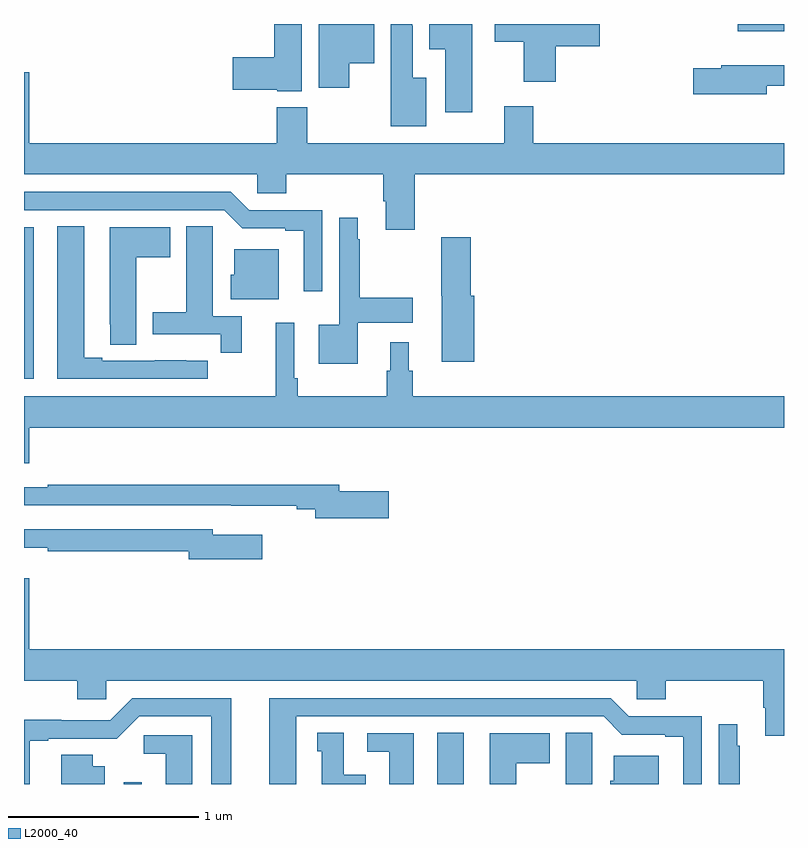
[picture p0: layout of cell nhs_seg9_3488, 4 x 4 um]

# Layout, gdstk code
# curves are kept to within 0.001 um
import gdstk
lib = gdstk.Library(unit=1e-6, precision=1e-09)
def R(c, l, rs):  # rectangles x0, y0, x1, y1
    for r in rs: c.add(gdstk.rectangle(r[:2], r[2:], *l))
def P(c, l, *ps):  # polygons
    for p in ps: c.add(gdstk.Polygon(p, *l))
L2000_40 = (2000, 40)

nhs_seg9_3488 = lib.new_cell('nhs_seg9_3488')
R(nhs_seg9_3488, L2000_40, [(309.525,1238.5,309.621,1238.509), (311.174,1238.5,311.314,1238.771), (309,1240.632,309.052,1241.43), (312.756,1242.461,313,1242.5)])
P(nhs_seg9_3488, L2000_40, [(310.462,1242.5),(310.316,1242.5),(310.316,1242.326),(310.098,1242.326),(310.098,1242.155),(310.332,1242.155),(310.332,1242.146),(310.462,1242.146)],
  [(311.116,1242.217),(311.047,1242.217),(311.047,1242.491),(311.043,1242.491),(311.043,1242.5),(310.931,1242.5),(310.931,1241.963),(311.116,1241.963)],
  [(310.711,1242.293),(310.843,1242.293),(310.843,1242.5),(310.55,1242.5),(310.55,1242.165),(310.711,1242.165)],
  [(311.798,1242.383),(312.031,1242.383),(312.031,1242.5),(311.478,1242.5),(311.478,1242.406),(311.63,1242.406),(311.63,1242.195),(311.798,1242.195)],
  [(311.359,1242.499),(311.132,1242.499),(311.132,1242.368),(311.216,1242.368),(311.216,1242.036),(311.359,1242.036)],
  [(312.91,1242.174),(313,1242.174),(313,1242.283),(312.671,1242.283),(312.671,1242.266),(312.522,1242.266),(312.522,1242.131),(312.91,1242.131)],
  [(311.057,1241.708),(313,1241.708),(313,1241.872),(311.681,1241.872),(311.681,1242.067),(311.528,1242.067),(311.528,1241.872),(310.491,1241.872),(310.491,1242.061),(310.331,1242.061),(310.331,1241.872),(309.028,1241.872),(309.028,1242.247),(309,1242.247),(309,1241.708),(310.227,1241.708),(310.227,1241.61),(310.379,1241.61),(310.379,1241.708),(310.892,1241.708),(310.892,1241.566),(310.904,1241.566),(310.904,1241.418),(311.057,1241.418)],
  [(310.569,1241.52),(310.185,1241.52),(310.089,1241.616),(309,1241.616),(309,1241.52),(310.053,1241.52),(310.149,1241.424),(310.376,1241.424),(310.376,1241.412),(310.472,1241.412),(310.472,1241.094),(310.569,1241.094)],
  [(310.756,1240.928),(311.047,1240.928),(311.047,1241.058),(310.768,1241.058),(310.768,1241.366),(310.756,1241.366),(310.756,1241.479),(310.659,1241.479),(310.659,1240.918),(310.55,1240.918),(310.55,1240.712),(310.756,1240.712)],
  [(310.145,1240.962),(309.994,1240.962),(309.994,1241.324),(309.993,1241.324),(309.993,1241.435),(309.854,1241.435),(309.854,1240.983),(309.677,1240.983),(309.677,1240.866),(310.036,1240.866),(310.036,1240.77),(310.145,1240.77)],
  [(309.967,1240.728),(309.854,1240.728),(309.854,1240.729),(309.688,1240.729),(309.688,1240.728),(309.412,1240.728),(309.412,1240.743),(309.316,1240.743),(309.316,1241.435),(309.176,1241.435),(309.176,1240.632),(309.967,1240.632)],
  [(309.592,1241.272),(309.769,1241.272),(309.769,1241.431),(309.452,1241.431),(309.452,1240.921),(309.453,1240.921),(309.453,1240.813),(309.592,1240.813)],
  [(311.369,1241.07),(311.351,1241.07),(311.351,1241.377),(311.197,1241.377),(311.197,1241.07),(311.198,1241.07),(311.198,1240.722),(311.369,1240.722)],
  [(310.342,1241.314),(310.106,1241.314),(310.106,1241.181),(310.088,1241.181),(310.088,1241.051),(310.342,1241.051)],
  [(309.028,1240.376),(313,1240.376),(313,1240.54),(311.045,1240.54),(311.045,1240.674),(311.026,1240.674),(311.026,1240.825),(310.928,1240.825),(310.928,1240.674),(310.909,1240.674),(310.909,1240.54),(310.442,1240.54),(310.442,1240.636),(310.422,1240.636),(310.422,1240.927),(310.325,1240.927),(310.325,1240.54),(309,1240.54),(309,1240.188),(309.028,1240.188)],
  [(310.921,1240.041),(310.66,1240.041),(310.66,1240.075),(309.124,1240.075),(309.124,1240.062),(309,1240.062),(309,1239.966),(310.09,1239.966),(310.09,1239.965),(310.436,1239.965),(310.436,1239.946),(310.532,1239.946),(310.532,1239.899),(310.921,1239.899)],
  [(310.255,1239.811),(309.994,1239.811),(309.994,1239.84),(309,1239.84),(309,1239.743),(309.124,1239.743),(309.124,1239.724),(309.866,1239.724),(309.866,1239.682),(310.255,1239.682)],
  [(309.028,1239.583),(309,1239.583),(309,1239.044),(309.281,1239.044),(309.281,1238.946),(309.432,1238.946),(309.432,1239.044),(312.225,1239.044),(312.225,1238.946),(312.377,1238.946),(312.377,1239.044),(312.89,1239.044),(312.89,1238.902),(312.902,1238.902),(312.902,1238.754),(313,1238.754),(313,1239.208),(309.028,1239.208)],
  [(309.031,1238.727),(309.127,1238.727),(309.127,1238.739),(309.488,1238.738),(309.606,1238.856),(309.986,1238.856),(309.986,1238.5),(310.09,1238.5),(310.09,1238.952),(309.57,1238.952),(309.453,1238.835),(309.197,1238.835),(309.197,1238.837),(309,1238.837),(309,1238.5),(309.031,1238.5)],
  [(310.432,1238.856),(312.051,1238.856),(312.147,1238.76),(312.374,1238.76),(312.374,1238.748),(312.47,1238.748),(312.47,1238.5),(312.567,1238.5),(312.567,1238.856),(312.183,1238.856),(312.087,1238.952),(310.292,1238.952),(310.292,1238.5),(310.432,1238.5)],
  [(312.766,1238.702),(312.754,1238.702),(312.754,1238.815),(312.657,1238.815),(312.657,1238.5),(312.766,1238.5)],
  [(310.798,1238.548),(310.684,1238.548),(310.684,1238.771),(310.544,1238.771),(310.544,1238.673),(310.568,1238.673),(310.568,1238.5),(310.798,1238.5)],
  [(311.992,1238.66),(311.991,1238.66),(311.991,1238.771),(311.852,1238.771),(311.852,1238.5),(311.992,1238.5)],
  [(311.59,1238.608),(311.767,1238.608),(311.767,1238.767),(311.45,1238.767),(311.45,1238.5),(311.59,1238.5)],
  [(311.05,1238.766),(310.806,1238.766),(310.806,1238.67),(310.922,1238.67),(310.922,1238.5),(311.05,1238.5)],
  [(309.886,1238.757),(309.63,1238.757),(309.63,1238.66),(309.746,1238.66),(309.746,1238.5),(309.886,1238.5)],
  [(309.424,1238.593),(309.361,1238.593),(309.361,1238.654),(309.197,1238.654),(309.197,1238.5),(309.424,1238.5)],
  [(312.34,1238.65),(312.104,1238.65),(312.104,1238.517),(312.086,1238.517),(312.086,1238.5),(312.34,1238.5)])

lib.write_gds('nhs_seg9_3488.gds')
